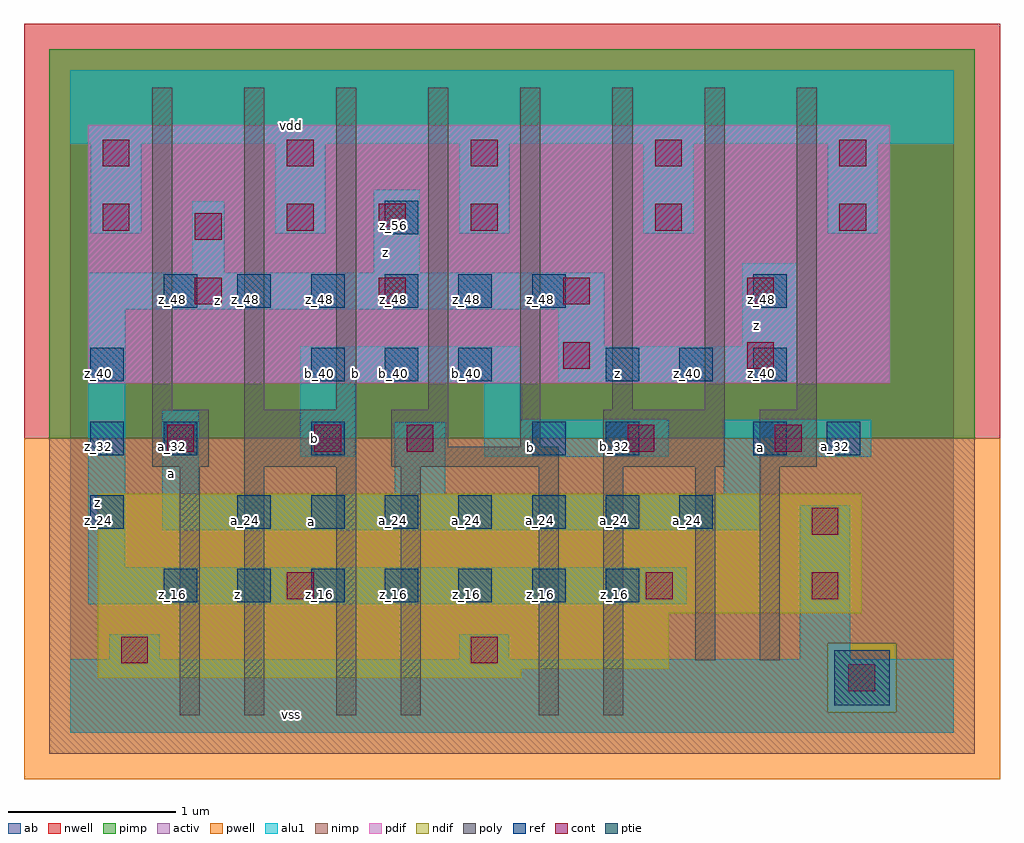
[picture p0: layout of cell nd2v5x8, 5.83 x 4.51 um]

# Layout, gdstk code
import gdstk
lib = gdstk.Library(unit=1e-6, precision=2.5e-09)
def R(c, l, rs):  # rectangles x0, y0, x1, y1
    for r in rs: c.add(gdstk.rectangle(r[:2], r[2:], *l))
def A(c, l, x, y, w, h, nx, ny, dx, dy):  # array of equal rectangles
    R(c, l, [(x+i*dx, y+j*dy, x+i*dx+w, y+j*dy+h) for i in range(nx) for j in range(ny)])
ndif = (3, 0)
pdif = (4, 0)
ptie = (6, 0)
ref = (24, 0)
cont = (25, 0)
pwell = (41, 0)
nwell = (42, 0)
activ = (43, 0)
pimp = (44, 0)
nimp = (45, 0)
poly = (46, 0)
alu1 = (49, 0)
ab = (63, 0)

nd2v5x8 = lib.new_cell('nd2v5x8')
R(nd2v5x8, ndif, [(0.165,0.33,2.695,0.385), (0.165,0.385,3.575,0.715), (0.165,0.715,4.73,1.43)])
R(nd2v5x8, pdif, [(0.11,2.09,4.895,3.63)])
R(nd2v5x8, ptie, [(4.565,0.165,4.895,0.495)])
A(nd2v5x8, ref, 0.56, 0.78, 0.2, 0.2, 7, 1, 0.44, 0)
A(nd2v5x8, ref, 0.12, 1.22, 0.2, 0.2, 1, 3, 0, 0.44)
A(nd2v5x8, ref, 1, 1.22, 0.2, 0.2, 7, 1, 0.44, 0)
A(nd2v5x8, ref, 1.44, 2.1, 0.2, 0.2, 3, 1, 0.44, 0)
A(nd2v5x8, ref, 3.2, 2.1, 0.2, 0.2, 3, 1, 0.44, 0)
A(nd2v5x8, ref, 0.56, 2.54, 0.2, 0.2, 6, 1, 0.44, 0)
R(nd2v5x8, ref, [(0.56,1.66,0.76,1.86), (1.44,1.66,1.64,1.86), (2.76,1.66,2.96,1.86), (3.2,1.66,3.4,1.86), (4.08,1.66,4.28,1.86), (4.52,1.66,4.72,1.86), (4.08,2.54,4.28,2.74), (1.88,2.98,2.08,3.18)])
A(nd2v5x8, cont, 0.745, 2.56, 0.16, 0.16, 4, 1, 1.1, 0)
A(nd2v5x8, cont, 1.295, 3, 0.16, 0.16, 3, 1, 0.55, 0)
A(nd2v5x8, cont, 0.195, 3.385, 0.16, 0.16, 5, 1, 1.1, 0)
R(nd2v5x8, cont, [(4.65,0.25,4.81,0.41), (0.305,0.415,0.465,0.575), (2.395,0.415,2.555,0.575), (1.295,0.8,1.455,0.96), (3.44,0.8,3.6,0.96), (4.43,0.8,4.59,0.96), (4.43,1.185,4.59,1.345), (0.58,1.68,0.74,1.84), (1.46,1.68,1.62,1.84), (2.01,1.68,2.17,1.84), (3.33,1.68,3.49,1.84), (4.21,1.68,4.37,1.84), (2.945,2.175,3.105,2.335), (4.045,2.175,4.205,2.335), (0.745,2.945,0.905,3.105), (0.195,3,0.355,3.16), (3.495,3,3.655,3.16), (4.595,3,4.755,3.16)])
R(nd2v5x8, pwell, [(-0.275,-0.275,5.555,1.76)])
R(nd2v5x8, nwell, [(-0.275,1.76,5.555,4.235)])
R(nd2v5x8, activ, [(4.565,0.165,4.895,0.495), (0.165,0.33,2.695,0.385), (0.165,0.385,3.575,0.715), (0.165,0.715,4.73,1.43), (0.11,2.09,4.895,3.63)])
R(nd2v5x8, pimp, [(4.525,0.125,4.935,0.535), (-0.125,1.76,5.405,4.085)])
R(nd2v5x8, nimp, [(-0.125,-0.125,5.405,0.125), (-0.125,0.125,4.525,0.535), (4.935,0.125,5.405,0.535), (-0.125,0.535,5.405,1.76)])
A(nd2v5x8, poly, 0.49, 1.93, 0.12, 1.925, 4, 1, 0.55, 0)
A(nd2v5x8, poly, 3.24, 1.93, 0.12, 1.925, 3, 1, 0.55, 0)
R(nd2v5x8, poly, [(0.655,0.105,0.775,1.59), (1.04,0.105,1.16,1.59), (1.59,0.105,1.71,1.59), (1.975,0.105,2.095,1.59), (2.8,0.105,2.92,1.59), (3.185,0.105,3.305,1.59), (3.735,0.435,3.855,1.59), (4.12,0.435,4.24,1.59), (0.49,1.59,0.83,1.93), (1.04,1.59,1.71,1.93), (1.92,1.59,2.92,1.71), (3.185,1.59,3.91,1.93), (4.12,1.59,4.46,1.93), (1.92,1.71,2.26,1.93), (2.69,1.71,2.81,3.855)])
A(nd2v5x8, alu1, 0.125, 2.985, 0.3, 0.535, 5, 1, 1.1, 0)
R(nd2v5x8, alu1, [(0,0,5.28,0.44), (0.235,0.44,0.535,0.59), (2.325,0.44,2.625,0.59), (4.36,0.44,4.66,1.36), (0.11,0.77,3.685,0.99), (0.11,0.99,0.33,2.53), (0.55,1.21,4.125,1.43), (0.55,1.43,0.77,1.925), (1.94,1.43,2.24,1.855), (3.905,1.43,4.125,1.65), (1.375,1.65,1.705,2.09), (2.475,1.65,3.575,1.87), (3.905,1.65,4.785,1.87), (2.475,1.87,2.695,2.09), (1.375,2.09,2.695,2.31), (2.915,2.09,4.345,2.31), (2.915,2.31,3.19,2.53), (4.015,2.31,4.345,2.805), (0.11,2.53,3.19,2.75), (0.73,2.75,0.92,3.175), (1.815,2.75,2.09,3.245), (0,3.52,5.28,3.96)])
R(nd2v5x8, ab, [(0,0,5.28,3.96)])
nd2v5x8.add(gdstk.Label('vss', (1.32,0.11), layer=49, texttype=0))
nd2v5x8.add(gdstk.Label('z', (1.0025,0.825), layer=49, texttype=0))
nd2v5x8.add(gdstk.Label('a', (1.4425,1.265), layer=49, texttype=0))
nd2v5x8.add(gdstk.Label('a', (4.125,1.705), layer=49, texttype=0))
nd2v5x8.add(gdstk.Label('b', (2.75,1.705), layer=49, texttype=0))
nd2v5x8.add(gdstk.Label('b', (1.4575,1.76), layer=49, texttype=0))
nd2v5x8.add(gdstk.Label('a', (0.605,1.5525), layer=49, texttype=0))
nd2v5x8.add(gdstk.Label('z', (3.2725,2.145), layer=49, texttype=0))
nd2v5x8.add(gdstk.Label('b', (1.705,2.145), layer=49, texttype=0))
nd2v5x8.add(gdstk.Label('z', (4.0975,2.4325), layer=49, texttype=0))
nd2v5x8.add(gdstk.Label('z', (0.165,1.375), layer=49, texttype=0))
nd2v5x8.add(gdstk.Label('z', (0.88,2.585), layer=49, texttype=0))
nd2v5x8.add(gdstk.Label('z', (1.8825,2.8725), layer=49, texttype=0))
nd2v5x8.add(gdstk.Label('vdd', (1.32,3.63), layer=49, texttype=0))
nd2v5x8.add(gdstk.Label('a_32', (4.57,1.71), layer=24, texttype=0))
nd2v5x8.add(gdstk.Label('z_48', (4.13,2.59), layer=24, texttype=0))
nd2v5x8.add(gdstk.Label('z_40', (4.13,2.15), layer=24, texttype=0))
nd2v5x8.add(gdstk.Label('a_32', (4.13,1.71), layer=24, texttype=0))
nd2v5x8.add(gdstk.Label('z_40', (3.69,2.15), layer=24, texttype=0))
nd2v5x8.add(gdstk.Label('a_24', (3.69,1.27), layer=24, texttype=0))
nd2v5x8.add(gdstk.Label('z_40', (3.25,2.15), layer=24, texttype=0))
nd2v5x8.add(gdstk.Label('b_32', (3.25,1.71), layer=24, texttype=0))
nd2v5x8.add(gdstk.Label('a_24', (3.25,1.27), layer=24, texttype=0))
nd2v5x8.add(gdstk.Label('z_16', (3.25,0.83), layer=24, texttype=0))
nd2v5x8.add(gdstk.Label('z_48', (2.81,2.59), layer=24, texttype=0))
nd2v5x8.add(gdstk.Label('b_32', (2.81,1.71), layer=24, texttype=0))
nd2v5x8.add(gdstk.Label('a_24', (2.81,1.27), layer=24, texttype=0))
nd2v5x8.add(gdstk.Label('z_16', (2.81,0.83), layer=24, texttype=0))
nd2v5x8.add(gdstk.Label('z_48', (2.37,2.59), layer=24, texttype=0))
nd2v5x8.add(gdstk.Label('b_40', (2.37,2.15), layer=24, texttype=0))
nd2v5x8.add(gdstk.Label('a_24', (2.37,1.27), layer=24, texttype=0))
nd2v5x8.add(gdstk.Label('z_16', (2.37,0.83), layer=24, texttype=0))
nd2v5x8.add(gdstk.Label('z_40', (0.17,2.15), layer=24, texttype=0))
nd2v5x8.add(gdstk.Label('z_32', (0.17,1.71), layer=24, texttype=0))
nd2v5x8.add(gdstk.Label('z_24', (0.17,1.27), layer=24, texttype=0))
nd2v5x8.add(gdstk.Label('z_56', (1.93,3.03), layer=24, texttype=0))
nd2v5x8.add(gdstk.Label('z_48', (1.93,2.59), layer=24, texttype=0))
nd2v5x8.add(gdstk.Label('b_40', (1.93,2.15), layer=24, texttype=0))
nd2v5x8.add(gdstk.Label('a_24', (1.93,1.27), layer=24, texttype=0))
nd2v5x8.add(gdstk.Label('z_16', (1.93,0.83), layer=24, texttype=0))
nd2v5x8.add(gdstk.Label('z_48', (1.49,2.59), layer=24, texttype=0))
nd2v5x8.add(gdstk.Label('b_40', (1.49,2.15), layer=24, texttype=0))
nd2v5x8.add(gdstk.Label('b_32', (1.49,1.71), layer=24, texttype=0))
nd2v5x8.add(gdstk.Label('a_24', (1.49,1.27), layer=24, texttype=0))
nd2v5x8.add(gdstk.Label('z_16', (1.49,0.83), layer=24, texttype=0))
nd2v5x8.add(gdstk.Label('z_48', (1.05,2.59), layer=24, texttype=0))
nd2v5x8.add(gdstk.Label('a_24', (1.05,1.27), layer=24, texttype=0))
nd2v5x8.add(gdstk.Label('z_16', (1.05,0.83), layer=24, texttype=0))
nd2v5x8.add(gdstk.Label('z_48', (0.61,2.59), layer=24, texttype=0))
nd2v5x8.add(gdstk.Label('a_32', (0.61,1.71), layer=24, texttype=0))
nd2v5x8.add(gdstk.Label('z_16', (0.61,0.83), layer=24, texttype=0))

lib.write_gds('nd2v5x8.gds')
